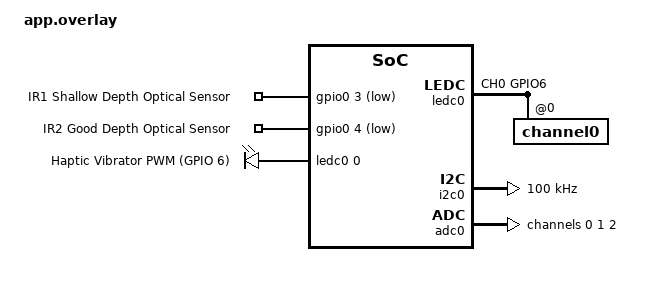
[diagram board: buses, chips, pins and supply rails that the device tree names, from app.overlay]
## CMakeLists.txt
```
# CMakeLists.txt - Zephyr RTOS Build Configuration
# CPR BLE RTOS Controller (No LED Build) for ESP32-C3

cmake_minimum_required(VERSION 3.20.0)

find_package(Zephyr REQUIRED HINTS $ENV{ZEPHYR_BASE})
project(cpr_ble_zephyr_controller_no_led)

target_include_directories(app PRIVATE src)
if(CONFIG_CPR_AED_BRIDGE)
    target_sources(app PRIVATE src/aed_client.c)
endif()

target_sources(app PRIVATE
    src/main.c
    src/cpr_protocol.c
    src/ble_service.c
    src/ir_sensor.c
    src/haptic.c
    src/aed_sensor.c
    src/air_sensor.c
    src/battery.c
)
```

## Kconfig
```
mainmenu "CPR Manikin"

config CPR_AED_BRIDGE
	bool "Enable assigned trainer AED client"
	depends on BT_CENTRAL && BT_GATT_CLIENT && BT_SETTINGS && BT_SMP
	depends on BT_MAX_CONN >= 2
	help
	  Add an independent outgoing BLE link to a selected trainer AED.

source "Kconfig.zephyr"
```

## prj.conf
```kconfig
# Zephyr RTOS Project Configuration
# Target: ESP32-C3 Super Mini / esp32c3_devkitm
# Project: CPR BLE Monitor (No LED)

# Serial Console & Logging
CONFIG_PRINTK=y
CONFIG_LOG=y
CONFIG_LOG_DEFAULT_LEVEL=3

# Kernel & Stacks
CONFIG_MAIN_STACK_SIZE=4096
CONFIG_SYSTEM_WORKQUEUE_STACK_SIZE=2048
CONFIG_HEAP_MEM_POOL_SIZE=8192

# Bluetooth Subsystem (BLE 5.0 Peripheral)
CONFIG_BT=y
CONFIG_BT_PERIPHERAL=y
CONFIG_BT_DEVICE_NAME="CPR_101"
CONFIG_BT_DEVICE_APPEARANCE=0
CONFIG_BT_MAX_CONN=2
CONFIG_BT_MAX_PAIRED=2
CONFIG_BT_SMP=y
CONFIG_BT_BONDABLE=y
CONFIG_BT_GATT_DYNAMIC_DB=y

# Bluetooth Battery Service (0x180F) for Mobile Percentage Display
CONFIG_BT_BAS=y

# MTU & Buffers for High Throughput & Zero-Delay
CONFIG_BT_L2CAP_TX_MTU=247
CONFIG_BT_BUF_ACL_TX_SIZE=251
CONFIG_BT_BUF_ACL_RX_SIZE=251

# Peripheral Hardware Drivers
CONFIG_GPIO=y
CONFIG_PWM=y
CONFIG_ADC=y
CONFIG_I2C=y

# Floating Point Formatting Support (for BMP280 Airway Pressure)
CONFIG_CBPRINTF_FP_SUPPORT=y
```

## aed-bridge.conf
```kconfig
CONFIG_BT_CENTRAL=y
CONFIG_BT_GATT_CLIENT=y
CONFIG_FLASH=y
CONFIG_FLASH_MAP=y
CONFIG_NVS=y
CONFIG_SETTINGS=y
CONFIG_SETTINGS_NVS=y
CONFIG_BT_SETTINGS=y
CONFIG_CPR_AED_BRIDGE=y
```

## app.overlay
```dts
/*
 * app.overlay - Devicetree overlay for ESP32-C3 Super Mini / esp32c3_devkitm
 * Mapping CPR sensors and haptic motor pins.
 */

#include <zephyr/dt-bindings/gpio/gpio.h>
#include <zephyr/dt-bindings/pwm/pwm.h>
#include <zephyr/dt-bindings/i2c/i2c.h>
#include <zephyr/dt-bindings/adc/adc.h>
#include <zephyr/dt-bindings/pinctrl/esp32c3-pinctrl.h>

/ {
    cpr_sensors {
        compatible = "gpio-keys";
        ir1_pin: ir1 {
            gpios = <&gpio0 3 (GPIO_PULL_UP | GPIO_ACTIVE_LOW)>;
            label = "IR1 Shallow Depth Optical Sensor";
        };
        ir2_pin: ir2 {
            gpios = <&gpio0 4 (GPIO_PULL_UP | GPIO_ACTIVE_LOW)>;
            label = "IR2 Good Depth Optical Sensor";
        };
    };

    aliases {
        ir1 = &ir1_pin;
        ir2 = &ir2_pin;
        pwm-motor = &motor_pwm_0;
        i2c-bus = &i2c0;
    };

    pwm_motor_node {
        compatible = "pwm-leds";
        motor_pwm_0: motor_pwm_0 {
            pwms = <&ledc0 0 PWM_HZ(200) PWM_POLARITY_NORMAL>;
            label = "Haptic Vibrator PWM (GPIO 6)";
        };
    };
};

&user_button1 {
    status = "disabled";
};

&pinctrl {
    ledc0_cpr: ledc0_cpr {
        group1 {
            pinmux = <LEDC_CH0_GPIO6>;
            output-enable;
        };
    };

    i2c0_cpr: i2c0_cpr {
        group1 {
            pinmux = <I2C0_SDA_GPIO8>,
                     <I2C0_SCL_GPIO9>;
            bias-pull-up;
            drive-open-drain;
            output-high;
        };
    };
};

&ledc0 {
    pinctrl-0 = <&ledc0_cpr>;
    pinctrl-names = "default";
    status = "okay";
    #address-cells = <1>;
    #size-cells = <0>;
    channel0@0 {
        reg = <0x0>;
        timer = <0>;
    };
};

&i2c0 {
    status = "okay";
    pinctrl-0 = <&i2c0_cpr>;
    pinctrl-names = "default";
    clock-frequency = <I2C_BITRATE_STANDARD>;
};

&adc0 {
    status = "okay";
    #address-cells = <1>;
    #size-cells = <0>;

    /* Channel 0: GPIO 0 (Chest AED Pad 49E Hall Sensor: A2) */
    channel@0 {
        reg = <0>;
        zephyr,gain = "ADC_GAIN_1_4";
        zephyr,reference = "ADC_REF_INTERNAL";
        zephyr,acquisition-time = <ADC_ACQ_TIME_DEFAULT>;
        zephyr,resolution = <12>;
    };

    /* Channel 1: GPIO 1 (Hip AED Pad 49E Hall Sensor: A1) */
    channel@1 {
        reg = <1>;
        zephyr,gain = "ADC_GAIN_1_4";
        zephyr,reference = "ADC_REF_INTERNAL";
        zephyr,acquisition-time = <ADC_ACQ_TIME_DEFAULT>;
        zephyr,resolution = <12>;
    };

    /* Channel 2: GPIO 2 (Battery Voltage Divider) */
    channel@2 {
        reg = <2>;
        zephyr,gain = "ADC_GAIN_1_4";
        zephyr,reference = "ADC_REF_INTERNAL";
        zephyr,acquisition-time = <ADC_ACQ_TIME_DEFAULT>;
        zephyr,resolution = <12>;
    };
};
```

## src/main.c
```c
/**
 * @file    main.c
 * @brief   CPR Training Monitor — Main Application Entry Point (Zephyr RTOS, No LED)
 * @version 9.0.0
 */

#include <zephyr/kernel.h>
#include <zephyr/logging/log.h>
#include <zephyr/bluetooth/bluetooth.h>

#include "cpr_config.h"
#include "cpr_protocol.h"
#include "ble_service.h"
#include "ir_sensor.h"
#include "haptic.h"
#include "aed_sensor.h"
#include "air_sensor.h"
#include "battery.h"

LOG_MODULE_REGISTER(main, LOG_LEVEL_INF);

/* Thread Stack Sizes & Priorities */
#define STACK_SIZE_SENSOR   2048
#define STACK_SIZE_HEART    1024
#define STACK_SIZE_AED      1536
#define STACK_SIZE_AIR      2048

#define PRIORITY_SENSOR     2   /* High priority for deterministic 1 kHz optical sampling */
#define PRIORITY_HEART      5   /* Background rhythmic haptic driver */
#define PRIORITY_AED        6   /* 10 Hz telemetry */
#define PRIORITY_AIR        6   /* 50 Hz pressure telemetry */

static uint8_t  s_device_id[3]   = {0x82, 0x30, 0x9A}; /* Derived from BT MAC */
static atomic_t s_packet_counter;

#ifdef CONFIG_CPR_AED_BRIDGE
#include "aed_client.h"
void cpr_relay_aed(struct bt_conn *app, int8_t state)
{
    CprPacket pkt = cpr_protocol_build_packet(PTYPE_AED, state,
        (uint16_t)atomic_inc(&s_packet_counter), s_device_id);
    ble_app_send(app, &pkt, sizeof(pkt));
}
#endif
static int8_t   s_last_aed_state = -1;
static volatile bool s_announce_pending = false;

/* =============================================================================
 * SENSOR & BLE EVENT HANDLERS
 * ============================================================================= */
static void on_compression_event(depth_result_t result)
{
    if (ble_service_is_connected()) {
        CprPacket cp = cpr_protocol_build_packet(
            PTYPE_COMPRESSION,
            (int8_t)result,
            (uint16_t)atomic_inc(&s_packet_counter),
            s_device_id
        );
        ble_service_send_compression(&cp);
    }
}

static void on_recoil_event(depth_result_t result)
{
    if (ble_service_is_connected()) {
        CprPacket cp = cpr_protocol_build_packet(
            PTYPE_COMPRESSION,
            (int8_t)result,
            (uint16_t)atomic_inc(&s_packet_counter),
            s_device_id
        );
        ble_service_send_compression(&cp);
    }
}

static void on_ble_heart_mode_cmd(heart_mode_t mode)
{
    haptic_set_mode(mode);
}

static void on_ble_announce_cmd(void)
{
    s_announce_pending = true;
}

static void on_ble_aed_mode_cmd(aed_mode_t mode)
{
    aed_sensor_set_mode(mode);
    s_last_aed_state = -1;
    LOG_INF("[BLE CMD] AED Mode set to: %s",
            (mode == AED_MODE_DISABLED) ? "OFF (Disabled)" :
            (mode == AED_MODE_HIP) ? "ON (Hip)" : "ON (Chest)");
    if (ble_service_is_connected()) {
        int8_t st = (mode == AED_MODE_DISABLED) ? AED_STATE_OFF : AED_STATE_ON;
        CprPacket p = cpr_protocol_build_packet(
            PTYPE_AED,
            st,
            (uint16_t)atomic_inc(&s_packet_counter),
            s_device_id
        );
        ble_service_send_aed(&p);
    }
}

static void on_ble_air_mode_cmd(bool active)
{
    air_sensor_set_active(active);
}

static volatile bool s_shock_armed = false;

/* Called when Mobile App turns Shock ON (Arm) or OFF (Disarm) */
static void on_ble_shock_mode_cmd(bool armed)
{
    s_shock_armed = armed;
    if (armed) {
        LOG_INF("[BLE CMD] Shock ARMED (ON - Ready for delivery)");
        if (ble_service_is_connected()) {
            CprPacket p = cpr_protocol_build_packet(
                PTYPE_AED,
                AED_STATE_SHOCK_ARMED,
                (uint16_t)atomic_inc(&s_packet_counter),
                s_device_id
            );
            ble_service_send_aed(&p);
        }
    } else {
        LOG_INF("[BLE CMD] Shock DISARMED (OFF)");
        if (ble_service_is_connected()) {
            CprPacket p = cpr_protocol_build_packet(
                PTYPE_AED,
                AED_STATE_SHOCK_DISARMED,
                (uint16_t)atomic_inc(&s_packet_counter),
                s_device_id
            );
            ble_service_send_aed(&p);
        }
    }
}

/* Called when physical shock is delivered by the external AED hardware */
void cpr_on_hardware_shock_delivered(void)
{
    LOG_INF("============================================");
    LOG_INF("   *** PHYSICAL AED SHOCK DELIVERED! ***    ");
    LOG_INF("============================================");

    /* 1. Trigger physical muscle spasm twitch on motor (180ms) */
    haptic_shock_twitch();

    /* 2. Resume normal sinus rhythm after successful defibrillation */
    haptic_set_mode(HEART_NORMAL);
    s_shock_armed = false;

    /* 3. Notify connected mobile app that shock was delivered */
    if (ble_service_is_connected()) {
        CprPacket p = cpr_protocol_build_packet(
            PTYPE_AED,
            AED_STATE_SHOCK_DELIVERED,
            (uint16_t)atomic_inc(&s_packet_counter),
            s_device_id
        );
        ble_service_send_aed(&p);
        ble_service_send_string("SHOCK:DELIVERED\n");
    }
}

/* =============================================================================
 * ZEPHYR RTOS DEDICATED THREADS
 * ============================================================================= */

/* 1. Sensor Thread: Deterministic 1 kHz Sampling (Zero-Delay Optical Trigger) */
static void sensor_thread_entry(void *p1, void *p2, void *p3)
{
    ARG_UNUSED(p1);
    ARG_UNUSED(p2);
    ARG_UNUSED(p3);

    while (1) {
        ir_sensor_update_tick(TIMING_SENSOR_POLL_MS);
        k_msleep(TIMING_SENSOR_POLL_MS);
    }
}
K_THREAD_DEFINE(sensor_tid, STACK_SIZE_SENSOR, sensor_thread_entry, NULL, NULL, NULL,
                PRIORITY_SENSOR, 0, 0);

/* 2. Heartbeat Thread: Precise Lub-Dub Cardiac Motor Rhythms */
static void heart_thread_entry(void *p1, void *p2, void *p3)
{
    ARG_UNUSED(p1);
    ARG_UNUSED(p2);
    ARG_UNUSED(p3);

    while (1) {
        haptic_run_cycle();
    }
}
K_THREAD_DEFINE(heart_tid, STACK_SIZE_HEART, heart_thread_entry, NULL, NULL, NULL,
                PRIORITY_HEART, 0, 0);

/* 3. AED Thread: 10 Hz 49E Hall Effect Pad Detection (Chest A2 & Hip A1) */
static void aed_thread_entry(void *p1, void *p2, void *p3)
{
    ARG_UNUSED(p1);
    ARG_UNUSED(p2);
    ARG_UNUSED(p3);

    while (1) {
        if (aed_sensor_is_active()) {
            aed_snapshot_t aed = aed_sensor_read();
            int8_t state = aed.is_attached ? 1 : 0;
            if (state != s_last_aed_state) {
                s_last_aed_state = state;
                if (ble_service_is_connected()) {
                    CprPacket p = cpr_protocol_build_packet(
                        PTYPE_AED,
                        state,
                        (uint16_t)atomic_inc(&s_packet_counter),
                        s_device_id
                    );
                    ble_service_send_aed(&p);
                    LOG_INF("[AED Telemetry] Mode=%s, Attached=%s (ADC=%d, Baseline=%d, Diff=%d)",
                            (aed.mode == AED_MODE_CHEST) ? "CHEST (A2)" : "HIP (A1)",
                            aed.is_attached ? "YES" : "NO",
                            aed.raw_adc,
                            aed.baseline,
                            aed.diff);
                }
            }
            k_msleep(AED_SAMPLE_INTERVAL_MS);
        } else {
            k_msleep(100);
        }
    }
}
K_THREAD_DEFINE(aed_tid, STACK_SIZE_AED, aed_thread_entry, NULL, NULL, NULL,
                PRIORITY_AED, 0, 0);

/* 4. Air Thread: 50 Hz Digital Breath Detection on GPIO 1 */
static void air_thread_entry(void *p1, void *p2, void *p3)
{
    ARG_UNUSED(p1);
    ARG_UNUSED(p2);
    ARG_UNUSED(p3);

    while (1) {
        if (air_sensor_is_active()) {
            bool is_air = false;
            if (air_sensor_update(&is_air)) {
                if (ble_service_is_connected()) {
                    CprPacket p = cpr_protocol_build_packet(
                        PTYPE_AIR,
                        is_air ? 1 : 0,
                        (uint16_t)atomic_inc(&s_packet_counter),
                        s_device_id
                    );
                    ble_service_send_air(&p);
                    LOG_INF("[Breath Telemetry] Breath=%s", is_air ? "DETECTED (ON)" : "RELEASED (OFF)");
                }
            }
            k_msleep(AIR_SAMPLE_INTERVAL_MS);
        } else {
            k_msleep(100);
        }
    }
}
K_THREAD_DEFINE(air_tid, STACK_SIZE_AIR, air_thread_entry, NULL, NULL, NULL,
                PRIORITY_AIR, 0, 0);

/* =============================================================================
 * MAIN ENTRY POINT
 * ============================================================================= */
int main(void)
{
    LOG_INF("==================================================");
    LOG_INF(" CPR Monitor v%s [Zephyr RTOS No-LED]", FW_VERSION_STR);
    LOG_INF("==================================================");

    /* 1. Initialize Bare-Metal Drivers */
    ir_sensor_init();
    haptic_init();
    aed_sensor_init();
    air_sensor_init();
    battery_init();

    /* 2. Register Callback Handlers */
    ir_sensor_register_callbacks(on_compression_event, on_recoil_event);
    ble_service_register_callbacks(
        on_ble_heart_mode_cmd,
        on_ble_announce_cmd,
        on_ble_aed_mode_cmd,
        on_ble_air_mode_cmd,
        on_ble_shock_mode_cmd
    );

    /* 3. Initialize BLE GATT & Advertising */
    int ret = ble_service_init();
    if (ret) {
        LOG_ERR("BLE initialization failed (err %d)", ret);
    }

    LOG_INF("System boot sequence complete. Active threads: Sensor, Heart, AED, Air.");

    /* 4. Main Telemetry & Watchdog Loop (Every 5 seconds) */
    while (1) {
        uint8_t batt_pct = battery_get_percentage();
        ble_service_set_battery_level(batt_pct);

        if (s_announce_pending) {
            s_announce_pending = false;
            if (ble_service_is_connected()) {
                AnnouncePacket ap = cpr_protocol_build_announce(
                    (uint16_t)atomic_inc(&s_packet_counter),
                    s_device_id,
                    batt_pct
                );
                ble_service_send_announce(&ap);
            }
        }

        /* Ensure advertising is active whenever disconnected */
        if (!ble_service_is_connected()) {
            ble_service_ensure_advertising();
        }

        LOG_INF("[HEALTH] State: %s | Battery: %u%% | CPM: %u",
                ble_service_is_connected() ? "CONNECTED" : 
                (ble_service_is_advertising() ? "ADVERTISING" : "IDLE"),
                batt_pct,
                cpm_tracker_get_current_rate());

        k_msleep(5000);
    }

    return 0;
}
```

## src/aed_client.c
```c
#include "aed_client.h"
#include "aed_wire.h"
#include <zephyr/kernel.h>
#include <zephyr/bluetooth/bluetooth.h>
#include <zephyr/bluetooth/gatt.h>
#include <zephyr/bluetooth/hci.h>
#include <zephyr/settings/settings.h>
#include <zephyr/sys/printk.h>
#include <zephyr/logging/log.h>
#include <string.h>

LOG_MODULE_REGISTER(aed_client, LOG_LEVEL_INF);
BUILD_ASSERT(DT_NODE_EXISTS(DT_NODELABEL(storage_partition)), "Bridge requires settings storage");

/* The bridge thread owns all connection procedures and assignment state. BLE
 * callbacks enqueue small snapshots, never run flash operations or app TX. */
enum kind { COMMAND, UP, DOWN, SERVICE, CHARACTER, CCC, END, SUBSCRIBED, FRAME, LOST };
struct message {
    enum kind kind;
    struct bt_conn *conn, *app;
    uint16_t handle, end;
    uint8_t data[14], len;
};
K_MSGQ_DEFINE(inbox, sizeof(struct message), 24, sizeof(void *));
K_SEM_DEFINE(started, 0, 1);
static atomic_t enabled;
static atomic_t dropped;
static struct bt_conn *peer, *owner;
static bt_addr_le_t target, saved;
static bool assigned, persisted;
static struct bt_gatt_discover_params discovery;
static struct bt_gatt_subscribe_params subscription;
static struct aed_stream stream;
static enum { IDLE, CONNECTING, SECURITY, FIND_SERVICE, FIND_CHARS, FIND_CCC, SUB, LIVE, CLOSING } phase;
static uint16_t service_end, rx, tx, tx_end;
static int64_t deadline, retry_at, hello_deadline;
static unsigned backoff = 1;
static const char *status = "@UNASSIGNED";

#define CANDIDATES 8
static bt_addr_le_t candidates[CANDIDATES];
static uint32_t token_base;
static unsigned count;
static struct k_spinlock scan_lock;
static bool scanning;
static int64_t scan_end, expires;

static struct bt_uuid_128 service_uuid = BT_UUID_INIT_128(BT_UUID_NUS_SERVICE_VAL);
static struct bt_uuid_128 rx_uuid = BT_UUID_INIT_128(BT_UUID_NUS_RX_VAL);
static struct bt_uuid_128 tx_uuid = BT_UUID_INIT_128(BT_UUID_NUS_TX_VAL);

static bool enqueue(struct message m)
{
    if (m.conn) bt_conn_ref(m.conn);
    if (!k_msgq_put(&inbox, &m, K_NO_WAIT)) return true;
    if (m.conn) bt_conn_unref(m.conn);
    if (m.app) bt_conn_unref(m.app);
    atomic_inc(&dropped);
    return false;
}

static int restore(const char *key, size_t len, settings_read_cb read, void *arg)
{
    if (strcmp(key, "peer")) return -ENOENT;
    if (len != sizeof(saved) || read(arg, &saved, len) != (ssize_t)len) return -EINVAL;
    if (saved.type != BT_ADDR_LE_PUBLIC && !(saved.type == BT_ADDR_LE_RANDOM && BT_ADDR_IS_STATIC(&saved.a))) return -EINVAL;
    target = saved;
    persisted = assigned = true;
    return 0;
}
SETTINGS_STATIC_HANDLER_DEFINE(aed_assignment, "trainer", NULL, restore, NULL, NULL);

static void reply(const char *s)
{
    if (owner && ble_is_app(owner)) ble_app_send(owner, s, strlen(s));
}
static void report(const char *s) { status = s; reply(s); }

static bool mfg(struct bt_data *d, void *arg)
{
    if (d->type == BT_DATA_MANUFACTURER_DATA && d->data_len == 3 &&
        d->data[0] == 0xc4 && d->data[1] == 0xc9 && d->data[2] == 0) {
        *(bool *)arg = true;
        return false;
    }
    return true;
}
static void advertisement(const bt_addr_le_t *addr, int8_t rssi, uint8_t type, struct net_buf_simple *ad)
{
    ARG_UNUSED(rssi);
    if (type != BT_GAP_ADV_TYPE_ADV_IND) return;
    bool available = false;
    bt_data_parse(ad, mfg, &available);
    if (!available) return;
    k_spinlock_key_t k = k_spin_lock(&scan_lock);
    if (scanning && count < CANDIDATES) {
        unsigned i = 0;
        while (i < count && bt_addr_le_cmp(addr, &candidates[i])) i++;
        if (i == count) candidates[count++] = *addr;
    }
    k_spin_unlock(&scan_lock, k);
}
static void stop_scan(void)
{
    k_spinlock_key_t k = k_spin_lock(&scan_lock);
    bool stop = scanning;
    scanning = false;
    k_spin_unlock(&scan_lock, k);
    if (stop) bt_le_scan_stop();
}

static bool central(struct bt_conn *c)
{
    struct bt_conn_info i;
    return !bt_conn_get_info(c, &i) && i.role == BT_CONN_ROLE_CENTRAL;
}
static void connected(struct bt_conn *c, uint8_t err)
{
    if (central(c)) enqueue((struct message){ .kind = err ? DOWN : UP, .conn = c });
}
static void disconnected(struct bt_conn *c, uint8_t reason)
{
    ARG_UNUSED(reason);
    if (central(c)) enqueue((struct message){ .kind = DOWN, .conn = c });
}
BT_CONN_CB_DEFINE(aed_connections) = { .connected = connected, .disconnected = disconnected };

static uint8_t found(struct bt_conn *c, const struct bt_gatt_attr *attr, struct bt_gatt_discover_params *p)
{
    struct message m = { .conn = c, .kind = END };
    if (!attr) { enqueue(m); return BT_GATT_ITER_STOP; }
    m.handle = attr->handle;
    if (p->type == BT_GATT_DISCOVER_PRIMARY) {
        m.kind = SERVICE;
        m.end = ((struct bt_gatt_service_val *)attr->user_data)->end_handle;
    } else if (p->type == BT_GATT_DISCOVER_CHARACTERISTIC) {
        const struct bt_gatt_chrc *ch = attr->user_data;
        m.kind = CHARACTER;
        m.end = ch->value_handle;
        m.data[0] = !bt_uuid_cmp(ch->uuid, &rx_uuid.uuid) &&
            (ch->properties & (BT_GATT_CHRC_WRITE | BT_GATT_CHRC_WRITE_WITHOUT_RESP)) ? 1 :
            !bt_uuid_cmp(ch->uuid, &tx_uuid.uuid) && (ch->properties & BT_GATT_CHRC_NOTIFY) ? 2 : 0;
        return enqueue(m) ? BT_GATT_ITER_CONTINUE : BT_GATT_ITER_STOP;
    } else { m.kind = CCC; }
    enqueue(m);
    return BT_GATT_ITER_STOP;
}
static int discover(uint8_t type, const struct bt_uuid *uuid, uint16_t first, uint16_t last)
{
    discovery = (struct bt_gatt_discover_params){ .uuid = uuid, .func = found, .type = type,
        .start_handle = first, .end_handle = last };
    return bt_gatt_discover(peer, &discovery);
}
static uint8_t notified(struct bt_conn *c, struct bt_gatt_subscribe_params *p, const void *data, uint16_t len)
{
    ARG_UNUSED(p);
    if (!c) return BT_GATT_ITER_STOP;
    if (!data) { enqueue((struct message){ .kind = LOST, .conn = c }); return BT_GATT_ITER_STOP; }
    if (len == 5) {
        struct message m = { .kind = FRAME, .conn = c, .app = ble_app_ref(), .len = len };
        memcpy(m.data, data, len);
        enqueue(m);
    }
    return BT_GATT_ITER_CONTINUE;
}
static void subscribed(struct bt_conn *c, uint8_t err, struct bt_gatt_subscribe_params *p)
{
    ARG_UNUSED(p);
    enqueue((struct message){ .kind = err ? LOST : SUBSCRIBED, .conn = c });
}
static void close_peer(const char *why)
{
    phase = CLOSING;
    report(why);
    if (peer) bt_conn_disconnect(peer, BT_HCI_ERR_REMOTE_USER_TERM_CONN);
}
static void check_bond(const struct bt_bond_info *b, void *arg)
{
    if (!bt_addr_le_cmp(&b->addr, bt_conn_get_dst(peer))) *(bool *)arg = true;
}
static void save_peer(void)
{
    bool bonded = false;
    bt_foreach_bond(BT_ID_DEFAULT, check_bond, &bonded);
    const bt_addr_le_t *id = bt_conn_get_dst(peer);
    if (!bonded || (id->type != BT_ADDR_LE_PUBLIC && !(id->type == BT_ADDR_LE_RANDOM && BT_ADDR_IS_STATIC(&id->a)))) {
        reply("@SESSION_ONLY"); return;
    }
    if (!persisted && settings_save_one("trainer/peer", id, sizeof(*id))) { reply("@STORE_ERROR"); return; }
    persisted = true;
    target = saved = *id;
}

static void handle_peer(const struct message *m)
{
    if (!peer || m->conn != peer) return;
    if (m->kind == DOWN) {
        bt_conn_unref(peer); peer = NULL; phase = IDLE;
        stream = (struct aed_stream){0};
        retry_at = k_uptime_get() + 1000 * backoff;
        backoff = MIN(backoff * 2, 32U);
        report(assigned ? "@DISCONNECTED" : "@UNASSIGNED");
        return;
    }
    if (phase == CLOSING) return;
    int err = 0;
    switch (m->kind) {
    case UP:
        if (phase != CONNECTING) return;
        phase = SECURITY; report("@PAIRING");
        err = bt_conn_set_security(peer, BT_SECURITY_L2);
        break;
    case SERVICE:
        if (phase != FIND_SERVICE) return;
        phase = FIND_CHARS; service_end = m->end; rx = tx = 0; tx_end = service_end;
        err = discover(BT_GATT_DISCOVER_CHARACTERISTIC, NULL, m->handle + 1, service_end);
        break;
    case CHARACTER:
        if (phase != FIND_CHARS) return;
        if (tx && m->handle > tx && tx_end == service_end) tx_end = m->handle - 1;
        if (m->data[0] == 1) rx = m->end;
        if (m->data[0] == 2 && !tx) tx = m->end;
        break;
    case END:
        if (phase != FIND_CHARS || !tx || !rx || tx >= tx_end) { close_peer("@BAD_SERVICE"); return; }
        phase = FIND_CCC;
        err = discover(BT_GATT_DISCOVER_DESCRIPTOR, BT_UUID_GATT_CCC, tx + 1, tx_end);
        break;
    case CCC:
        if (phase != FIND_CCC) return;
        phase = SUB;
        subscription = (struct bt_gatt_subscribe_params){ .notify = notified, .subscribe = subscribed,
            .ccc_handle = m->handle, .value_handle = tx, .value = BT_GATT_CCC_NOTIFY };
        atomic_set_bit(subscription.flags, BT_GATT_SUBSCRIBE_FLAG_VOLATILE);
        err = bt_gatt_subscribe(peer, &subscription);
        break;
    case SUBSCRIBED:
        if (phase != SUB) return;
        phase = LIVE; backoff = 1; save_peer(); report("@SUBSCRIBED");
        hello_deadline = k_uptime_get() + 3000;
        break;
    case FRAME:
        if (phase != LIVE && phase != SUB) return;
        switch (aed_decode(&stream, m->data, m->len)) {
        case AED_HELLO: report("@TELEMETRY_V1"); break;
        case AED_POWER_OFF: case AED_POWER_ON: case AED_SIM_DELIVERED:
            if (m->app && ble_is_app(m->app)) {
                int8_t state = m->data[2] == AED_POWER_OFF ? AED_STATE_OFF :
                    m->data[2] == AED_POWER_ON ? AED_STATE_ON : AED_STATE_SHOCK_DELIVERED;
                cpr_relay_aed(m->app, state);
            }
            break;
        }
        break;
    case LOST: close_peer("@TX_LOST"); break;
    default: break;
    }
    if (err) close_peer("@LINK_ERROR");
}

static bool token_index(const uint8_t *p, unsigned *index)
{
    uint32_t token = 0;
    for (int i = 0; i < 8; i++) {
        unsigned c = p[i];
        if (c >= '0' && c <= '9') c -= '0';
        else if (c >= 'A' && c <= 'F') c = c - 'A' + 10;
        else return false;
        token = (token << 4) | c;
    }
    *index = token - token_base;
    return !scanning && expires > k_uptime_get() && *index < count;
}
static void forget_owner(void)
{
    stop_scan(); expires = 0;
    if (owner) bt_conn_unref(owner);
    owner = NULL;
}
static void command(const struct message *m)
{
    if (!ble_is_app(m->conn)) return;
    if (owner != m->conn) { forget_owner(); owner = bt_conn_ref(m->conn); }
    const char *cmd = (const char *)m->data;
    if (!strcmp(cmd, "@GET")) {
        reply(status);
        if (assigned) {
            char line[21];
            snprintk(line, sizeof(line), "@PEER:%02X%02X%02X:%c", target.a.val[2], target.a.val[1], target.a.val[0], persisted ? 'B' : 'S');
            reply(line);
        }
        return;
    }
    if (!strcmp(cmd, "@LIST")) {
        if (peer && phase != LIVE) { reply("@BUSY"); return; }
        stop_scan(); expires = 0; token_base += CANDIDATES;
        k_spinlock_key_t k = k_spin_lock(&scan_lock);
        count = 0; scanning = true;
        k_spin_unlock(&scan_lock, k);
        if (bt_le_scan_start(BT_LE_SCAN_PASSIVE, advertisement)) { stop_scan(); reply("@SCAN_ERROR"); return; }
        scan_end = k_uptime_get() + 4000; reply("@SCANNING"); return;
    }
    bool clear = !strcmp(cmd, "@CLEAR");
    unsigned idx = 0;
    if (!clear && (!token_index(m->data + 5, &idx) || strncmp(cmd, "@SET:", 5))) { reply("@STALE"); return; }
    if (!clear && assigned && !bt_addr_le_cmp(&target, &candidates[idx])) { reply(status); return; }
    if (persisted) {
        if (settings_delete("trainer/peer")) { reply("@STORE_ERROR"); return; }
        if (bt_addr_le_cmp(&saved, bt_conn_get_dst(owner)) && bt_unpair(BT_ID_DEFAULT, &saved)) reply("@UNPAIR_ERROR");
    }
    stop_scan(); expires = 0;
    persisted = false; assigned = !clear; backoff = 1; retry_at = 0;
    if (!clear) target = candidates[idx];
    if (peer) close_peer("@RELEASING");
    else report(clear ? "@UNASSIGNED" : "@ASSIGNED");
}

ssize_t aed_client_command(struct bt_conn *app, const void *buf, uint16_t len, uint16_t offset)
{
    if (!atomic_get(&enabled)) return BT_GATT_ERR(BT_ATT_ERR_UNLIKELY);
    if (bt_conn_get_security(app) < BT_SECURITY_L2) return BT_GATT_ERR(BT_ATT_ERR_AUTHENTICATION);
    if (offset) return BT_GATT_ERR(BT_ATT_ERR_INVALID_OFFSET);
    const char *p = buf;
    if (!((len == 4 && !memcmp(p,"@GET",4)) || (len == 5 && !memcmp(p,"@LIST",5)) ||
          (len == 6 && !memcmp(p,"@CLEAR",6)) || (len == 13 && !memcmp(p,"@SET:",5))))
        return BT_GATT_ERR(BT_ATT_ERR_VALUE_NOT_ALLOWED);
    struct message m = { .kind = COMMAND, .conn = app };
    memcpy(m.data, p, len);
    return enqueue(m) ? len : BT_GATT_ERR(BT_ATT_ERR_INSUFFICIENT_RESOURCES);
}

static void tick(void)
{
    int64_t now = k_uptime_get();
    if (owner && !ble_is_app(owner)) forget_owner();
    if (atomic_set(&dropped, 0)) reply("@BRIDGE_OVERFLOW");
    if (scanning && now >= scan_end) {
        stop_scan(); expires = now + 30000;
        for (unsigned i = 0; i < count; i++) {
            char line[21]; const uint8_t *a = candidates[i].a.val;
            snprintk(line, sizeof(line), "@%08X:%02X%02X%02X", (unsigned)(token_base + i), a[2], a[1], a[0]);
            reply(line);
        }
        reply("@LIST_END");
    }
    if (!peer && assigned && !scanning && now >= retry_at) {
        if (bt_conn_le_create(&target, BT_CONN_LE_CREATE_CONN, BT_LE_CONN_PARAM_DEFAULT, &peer)) {
            peer = NULL; retry_at = now + 1000 * backoff; backoff = MIN(32U, backoff * 2);
            report("@CONNECT_FAILED"); return;
        }
        phase = CONNECTING; deadline = now + 30000; report("@CONNECTING");
    }
    if (!peer) return;
    struct bt_conn_info info;
    if (!bt_conn_get_info(peer, &info) && info.state == BT_CONN_STATE_DISCONNECTED) {
        handle_peer(&(struct message){.conn = peer, .kind = DOWN}); return;
    }
    if (phase == SECURITY && bt_conn_get_security(peer) >= BT_SECURITY_L2) {
        phase = FIND_SERVICE; report("@SECURED");
        if (discover(BT_GATT_DISCOVER_PRIMARY, &service_uuid.uuid, 1, UINT16_MAX)) close_peer("@DISCOVERY_ERROR");
    }
    if (phase == LIVE && !stream.ready && hello_deadline && now >= hello_deadline) {
        hello_deadline = 0; report("@NO_TELEMETRY");
    }
    if (phase != LIVE && phase != CLOSING && now >= deadline) close_peer("@TIMEOUT");
}
static void worker(void *a, void *b, void *c)
{
    ARG_UNUSED(a); ARG_UNUSED(b); ARG_UNUSED(c);
    k_sem_take(&started, K_FOREVER);
    for (;;) {
        struct message m;
        if (!k_msgq_get(&inbox, &m, K_MSEC(100))) {
            if (m.kind == COMMAND) command(&m); else handle_peer(&m);
            if (m.conn) bt_conn_unref(m.conn);
            if (m.app) bt_conn_unref(m.app);
        }
        tick();
    }
}
K_THREAD_DEFINE(aed_client_tid, 3072, worker, NULL, NULL, NULL, 7, 0, 0);
int aed_client_init(void)
{
    atomic_set(&enabled, 1);
    k_sem_give(&started);
    return 0;
}
```

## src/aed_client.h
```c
#pragma once

#include <zephyr/bluetooth/conn.h>
#include "cpr_config.h"

int aed_client_init(void);
ssize_t aed_client_command(struct bt_conn *app, const void *buf, uint16_t len, uint16_t offset);
struct bt_conn *ble_app_ref(void);
bool ble_is_app(struct bt_conn *conn);
int ble_app_send(struct bt_conn *app, const void *data, uint16_t len);
void cpr_relay_aed(struct bt_conn *app, int8_t state);
```

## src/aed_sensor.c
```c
/**
 * @file    aed_sensor.c
 * @brief   49E Linear Hall Effect Sensor Driver Implementation (Zephyr RTOS)
 *          Handles Chest (A2) on ADC1_CH0 (GPIO 0) and Hip (A1) on ADC1_CH1 (GPIO 1).
 *          Enhanced with 16-sample oversampling and hysteresis for thin/small magnets.
 * @version 9.3.0
 */

#include "aed_sensor.h"
#include <zephyr/kernel.h>
#include <zephyr/drivers/adc.h>
#include <zephyr/logging/log.h>
#include <stdlib.h>

LOG_MODULE_REGISTER(aed_sensor, LOG_LEVEL_INF);

static const struct device *adc_dev = NULL;
static aed_mode_t s_aed_mode        = AED_MODE_DISABLED;
static int16_t    s_baseline_chest  = 0;
static int16_t    s_baseline_hip    = 0;

static bool    s_chest_attached     = false;
static bool    s_hip_attached       = false;
static uint8_t s_chest_confirm_count = 0;
static uint8_t s_hip_confirm_count   = 0;

static int adc_read_channel(uint8_t channel, int16_t *out_val)
{
    if (!adc_dev || !device_is_ready(adc_dev)) {
        *out_val = 2048; /* Dummy midpoint if ADC not ready */
        return -ENODEV;
    }

    struct adc_channel_cfg ch_cfg = {
        .gain = ADC_GAIN_1_4,
        .reference = ADC_REF_INTERNAL,
        .acquisition_time = ADC_ACQ_TIME_DEFAULT,
        .channel_id = channel,
    };

    adc_channel_setup(adc_dev, &ch_cfg);

    int16_t sample = 0;
    struct adc_sequence sequence = {
        .channels = BIT(channel),
        .buffer = &sample,
        .buffer_size = sizeof(sample),
        .resolution = AED_ADC_RESOLUTION_BITS,
    };

    int ret = adc_read(adc_dev, &sequence);
    if (ret == 0) {
        *out_val = sample;
    }
    return ret;
}

static int16_t read_hall_average(uint8_t channel, uint8_t samples)
{
    int32_t sum = 0;
    int16_t val = 0;
    for (uint8_t i = 0; i < samples; ++i) {
        adc_read_channel(channel, &val);
        sum += val;
        k_busy_wait(200);
    }
    return (int16_t)(sum / samples);
}

int aed_sensor_init(void)
{
    adc_dev = DEVICE_DT_GET(DT_NODELABEL(adc0));
    if (!device_is_ready(adc_dev)) {
        LOG_WRN("ADC0 device not ready");
    } else {
        LOG_INF("ADC0 initialized for Dual 49E Hall sensors (Chest=GPIO0/CH0, Hip=GPIO1/CH1)");
    }

    s_aed_mode = AED_MODE_DISABLED;
    s_chest_attached = false;
    s_hip_attached   = false;
    s_chest_confirm_count = 0;
    s_hip_confirm_count   = 0;
    return 0;
}

void aed_sensor_calibrate(void)
{
    if (s_aed_mode == AED_MODE_CHEST) {
        s_baseline_chest = read_hall_average(AED_ADC_CH_CHEST, AED_CALIBRATION_SAMPLES);
        LOG_INF("Chest AED Calibrated (GPIO 0): Baseline=%d (Sens Threshold=%d, Hyst=%d)",
                s_baseline_chest, AED_DIFF_THRESHOLD, AED_HYSTERESIS_THRESHOLD);
    } else if (s_aed_mode == AED_MODE_HIP) {
        s_baseline_hip = read_hall_average(AED_ADC_CH_HIP, AED_CALIBRATION_SAMPLES);
        LOG_INF("Hip AED Calibrated (GPIO 1): Baseline=%d (Sens Threshold=%d, Hyst=%d)",
                s_baseline_hip, AED_DIFF_THRESHOLD, AED_HYSTERESIS_THRESHOLD);
    }
}

void aed_sensor_set_mode(aed_mode_t mode)
{
    s_aed_mode = mode;
    s_chest_attached = false;
    s_hip_attached   = false;
    s_chest_confirm_count = 0;
    s_hip_confirm_count   = 0;

    if (mode == AED_MODE_CHEST) {
        aed_sensor_calibrate();
        LOG_INF(">>> CHEST AED Pad Monitoring ACTIVATED on GPIO 0 (Cmd 'A2', Threshold=%d)", AED_DIFF_THRESHOLD);
    } else if (mode == AED_MODE_HIP) {
        aed_sensor_calibrate();
        LOG_INF(">>> HIP AED Pad Monitoring ACTIVATED on GPIO 1 (Cmd 'A1', Threshold=%d)", AED_DIFF_THRESHOLD);
    } else {
        LOG_INF("<<< AED Pad Monitoring DEACTIVATED (Cmd 'A0')");
    }
}

aed_mode_t aed_sensor_get_mode(void)
{
    return s_aed_mode;
}

bool aed_sensor_is_active(void)
{
    return (s_aed_mode != AED_MODE_DISABLED);
}

aed_snapshot_t aed_sensor_read(void)
{
    aed_snapshot_t snap = {
        .mode = s_aed_mode,
        .is_attached = false,
        .raw_adc = 0,
        .baseline = 0,
        .diff = 0
    };

    if (s_aed_mode == AED_MODE_DISABLED) return snap;

    uint8_t channel = (s_aed_mode == AED_MODE_CHEST) ? AED_ADC_CH_CHEST : AED_ADC_CH_HIP;
    int16_t current = read_hall_average(channel, AED_OVERSAMPLE_COUNT);
    int16_t baseline = (s_aed_mode == AED_MODE_CHEST) ? s_baseline_chest : s_baseline_hip;

    snap.raw_adc     = current;
    snap.baseline    = baseline;
    snap.diff        = abs(current - baseline);

    bool *p_attached = (s_aed_mode == AED_MODE_CHEST) ? &s_chest_attached : &s_hip_attached;
    uint8_t *p_confirm = (s_aed_mode == AED_MODE_CHEST) ? &s_chest_confirm_count : &s_hip_confirm_count;

    if (!(*p_attached)) {
        if (snap.diff >= AED_DIFF_THRESHOLD) {
            (*p_confirm)++;
            if (*p_confirm >= 2) {
                *p_attached = true;
                *p_confirm = 0;
            }
        } else {
            *p_confirm = 0;
        }
    } else {
        if (snap.diff <= AED_HYSTERESIS_THRESHOLD) {
            (*p_confirm)++;
            if (*p_confirm >= 2) {
                *p_attached = false;
                *p_confirm = 0;
            }
        } else {
            *p_confirm = 0;
        }
    }

    snap.is_attached = *p_attached;
    return snap;
}
```

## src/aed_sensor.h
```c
/**
 * @file    aed_sensor.h
 * @brief   49E Linear Hall Effect Sensor Driver for AED Pad Placement (Zephyr RTOS)
 * @version 9.1.0
 */

#pragma once

#include <stdint.h>
#include <stdbool.h>
#include "cpr_config.h"

#ifdef __cplusplus
extern "C" {
#endif

typedef struct {
    aed_mode_t mode;        /* Current mode: AED_MODE_CHEST or AED_MODE_HIP */
    bool       is_attached; /* True if pad attached (diff > threshold) */
    int16_t    raw_adc;     /* Current raw ADC value */
    int16_t    baseline;    /* Calibrated baseline */
    int16_t    diff;        /* Absolute difference from baseline */
} aed_snapshot_t;

int aed_sensor_init(void);

void aed_sensor_set_mode(aed_mode_t mode);

aed_mode_t aed_sensor_get_mode(void);

bool aed_sensor_is_active(void);

void aed_sensor_calibrate(void);

aed_snapshot_t aed_sensor_read(void);

#ifdef __cplusplus
}
#endif
```

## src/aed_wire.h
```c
#pragma once

#include <stdbool.h>
#include <stdint.h>
#include <stddef.h>

/* Companion protocol v1: magic, version, event, little-endian sequence. */
enum aed_event { AED_HELLO = 0, AED_POWER_OFF, AED_POWER_ON, AED_SIM_DELIVERED };
struct aed_stream { bool ready; uint16_t last; };

static inline int aed_decode(struct aed_stream *s, const uint8_t *p, size_t n)
{
    if (!p || n != 5 || p[0] != 0xae || p[1] != 1 || p[2] > AED_SIM_DELIVERED) return -1;
    uint16_t seq = (uint16_t)p[3] | ((uint16_t)p[4] << 8);
    if (!s->ready && p[2] != AED_HELLO) return -1;
    if (s->ready) {
        uint16_t delta = (uint16_t)(seq - s->last);
        if (p[2] == AED_HELLO || delta == 0 || delta >= 0x8000) return -1;
    }
    s->last = seq;
    s->ready = true;
    return p[2];
}
```

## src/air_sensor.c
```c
/**
 * @file    air_sensor.c
 * @brief   BMP280 Airway Barometric Pressure Sensor Driver Implementation (Zephyr RTOS)
 *          Operates over I2C0 (SDA: GPIO 8, SCL: GPIO 9).
 * @version 9.3.0
 */

#include "air_sensor.h"
#include <zephyr/kernel.h>
#include <zephyr/drivers/i2c.h>
#include <zephyr/logging/log.h>
#include <math.h>

LOG_MODULE_REGISTER(air_sensor, LOG_LEVEL_INF);

static const struct device *i2c_dev = NULL;
static uint16_t s_bmp_addr          = 0x76;
static bool     s_bmp_initialized   = false;
static bool     s_air_active        = false;

/* Calibration Parameters */
static uint16_t dig_T1;
static int16_t  dig_T2, dig_T3;
static uint16_t dig_P1;
static int16_t  dig_P2, dig_P3, dig_P4, dig_P5, dig_P6, dig_P7, dig_P8, dig_P9;
static int32_t  t_fine;

/* Air Detection State */
static float   s_baseline_pressure = 0.0f;
static float   s_filtered_diff     = 0.0f;
static bool    s_first_reading     = true;
static bool    s_air_detected      = false;
static uint8_t s_on_count          = 0;
static uint8_t s_off_count         = 0;

/* BMP280 Registers */
#define BMP280_REG_CHIPID       0xD0
#define BMP280_REG_CTRL_MEAS    0xF4
#define BMP280_REG_CONFIG       0xF5
#define BMP280_REG_PRESS_MSB    0xF7
#define BMP280_REG_CALIB_START  0x88

static int bmp280_read_calib(void)
{
    uint8_t calib[24];
    int ret = i2c_burst_read(i2c_dev, s_bmp_addr, BMP280_REG_CALIB_START, calib, 24);
    if (ret) return ret;

    dig_T1 = (uint16_t)(calib[1] << 8 | calib[0]);
    dig_T2 = (int16_t)(calib[3] << 8 | calib[2]);
    dig_T3 = (int16_t)(calib[5] << 8 | calib[4]);

    dig_P1 = (uint16_t)(calib[7] << 8 | calib[6]);
    dig_P2 = (int16_t)(calib[9] << 8 | calib[8]);
    dig_P3 = (int16_t)(calib[11] << 8 | calib[10]);
    dig_P4 = (int16_t)(calib[13] << 8 | calib[12]);
    dig_P5 = (int16_t)(calib[15] << 8 | calib[14]);
    dig_P6 = (int16_t)(calib[17] << 8 | calib[16]);
    dig_P7 = (int16_t)(calib[19] << 8 | calib[18]);
    dig_P8 = (int16_t)(calib[21] << 8 | calib[20]);
    dig_P9 = (int16_t)(calib[23] << 8 | calib[22]);

    return 0;
}

static float bmp280_read_pressure_pa(void)
{
    if (!s_bmp_initialized) return 101325.0f;

    uint8_t data[6];
    int ret = i2c_burst_read(i2c_dev, s_bmp_addr, BMP280_REG_PRESS_MSB, data, 6);
    if (ret) return 101325.0f;

    int32_t adc_p = ((int32_t)data[0] << 12) | ((int32_t)data[1] << 4) | ((int32_t)data[2] >> 4);
    int32_t adc_t = ((int32_t)data[3] << 12) | ((int32_t)data[4] << 4) | ((int32_t)data[5] >> 4);

    /* Temperature compensation */
    int32_t var1 = ((((adc_t >> 3) - ((int32_t)dig_T1 << 1))) * ((int32_t)dig_T2)) >> 11;
    int32_t var2 = (((((adc_t >> 4) - ((int32_t)dig_T1)) * ((adc_t >> 4) - ((int32_t)dig_T1))) >> 12) * ((int32_t)dig_T3)) >> 14;
    t_fine = var1 + var2;

    /* Pressure compensation */
    int64_t p_var1 = ((int64_t)t_fine) - 128000;
    int64_t p_var2 = p_var1 * p_var1 * (int64_t)dig_P6;
    p_var2 = p_var2 + ((p_var1 * (int64_t)dig_P5) << 17);
    p_var2 = p_var2 + (((int64_t)dig_P4) << 35);
    p_var1 = ((p_var1 * p_var1 * (int64_t)dig_P3) >> 8) + ((p_var1 * (int64_t)dig_P2) << 12);
    p_var1 = (((((int64_t)1) << 47) + p_var1)) * ((int64_t)dig_P1) >> 33;

    if (p_var1 == 0) return 0.0f;

    int64_t p = 1048576 - adc_p;
    p = (((p << 31) - p_var2) * 3125) / p_var1;
    p_var1 = (((int64_t)dig_P9) * (p >> 13) * (p >> 13)) >> 25;
    p_var2 = (((int64_t)dig_P8) * p) >> 19;
    p = ((p + p_var1 + p_var2) >> 8) + (((int64_t)dig_P7) << 4);

    return (float)p / 256.0f;
}

int air_sensor_init(void)
{
    i2c_dev = DEVICE_DT_GET(DT_NODELABEL(i2c0));
    if (!device_is_ready(i2c_dev)) {
        LOG_WRN("I2C0 not ready");
        return -ENODEV;
    }

    uint8_t chip_id = 0;
    /* Probe 0x76 first, then 0x77 */
    s_bmp_addr = 0x76;
    if (i2c_reg_read_byte(i2c_dev, s_bmp_addr, BMP280_REG_CHIPID, &chip_id) != 0 || (chip_id != 0x58 && chip_id != 0x60)) {
        s_bmp_addr = 0x77;
        if (i2c_reg_read_byte(i2c_dev, s_bmp_addr, BMP280_REG_CHIPID, &chip_id) != 0 || (chip_id != 0x58 && chip_id != 0x60)) {
            LOG_WRN("BMP280 not found on I2C (0x76 / 0x77)");
            s_bmp_initialized = false;
            return -ENODEV;
        }
    }

    bmp280_read_calib();

    /* Put in sleep mode initially */
    i2c_reg_write_byte(i2c_dev, s_bmp_addr, BMP280_REG_CTRL_MEAS, 0x00);
    s_bmp_initialized = true;
    LOG_INF("BMP280 airway sensor initialized at 0x%02x on I2C0 (Sleep Mode)", s_bmp_addr);
    return 0;
}

bool air_sensor_calibrate(void)
{
    if (!s_bmp_initialized) return false;

    /* Configure normal mode, x2 temp oversample, x16 pressure oversample */
    i2c_reg_write_byte(i2c_dev, s_bmp_addr, BMP280_REG_CTRL_MEAS, 0x57);
    i2c_reg_write_byte(i2c_dev, s_bmp_addr, BMP280_REG_CONFIG, 0x10); /* Filter x16 */

    k_msleep(100);

    float sum = 0.0f;
    for (int i = 0; i < AIR_CALIBRATION_SAMPLES; ++i) {
        sum += bmp280_read_pressure_pa();
        k_msleep(20);
    }
    s_baseline_pressure = sum / (float)AIR_CALIBRATION_SAMPLES;
    s_first_reading     = true;
    s_air_detected      = false;
    s_on_count          = 0;
    s_off_count         = 0;

    LOG_INF("BMP280 Calibrated: Baseline Pressure = %.2f Pa", (double)s_baseline_pressure);
    return true;
}

void air_sensor_set_active(bool active)
{
    s_air_active = active;
    if (active) {
        air_sensor_calibrate();
        LOG_INF(">>> Mouth Airway Sensor ACTIVATED (Cmd 'M1')");
    } else {
        if (s_bmp_initialized) {
            i2c_reg_write_byte(i2c_dev, s_bmp_addr, BMP280_REG_CTRL_MEAS, 0x00); /* Sleep */
        }
        LOG_INF("<<< Mouth Airway Sensor DEACTIVATED (Cmd 'M0')");
    }
}

bool air_sensor_is_active(void)
{
    return s_air_active;
}

bool air_sensor_update(bool *out_air_detected)
{
    if (!s_air_active || !s_bmp_initialized) return false;

    float pressure = bmp280_read_pressure_pa();
    float diff = pressure - s_baseline_pressure;

    if (s_first_reading) {
        s_filtered_diff = diff;
        s_first_reading = false;
    } else {
        s_filtered_diff = AIR_FILTER_ALPHA * diff + (1.0f - AIR_FILTER_ALPHA) * s_filtered_diff;
    }

    float magnitude = fabsf(s_filtered_diff);
    bool state_changed = false;

    if (!s_air_detected) {
        if (magnitude >= AIR_ON_THRESHOLD_PA) {
            s_on_count++;
        } else {
            s_on_count = 0;
        }

        if (s_on_count >= AIR_ON_CONFIRM_COUNT) {
            s_air_detected = true;
            s_on_count     = 0;
            s_off_count    = 0;
            state_changed  = true;
            LOG_INF("[AIR EVENT] >>> BREATH DETECTED! (Delta: %.1f Pa)", (double)magnitude);
        }
    } else {
        if (magnitude <= AIR_OFF_THRESHOLD_PA) {
            s_off_count++;
        } else {
            s_off_count = 0;
        }

        if (s_off_count >= AIR_OFF_CONFIRM_COUNT) {
            s_air_detected = false;
            s_off_count    = 0;
            s_on_count     = 0;
            state_changed  = true;
            LOG_INF("[AIR EVENT] <<< BREATH ENDED");
        }
    }

    *out_air_detected = s_air_detected;
    return state_changed;
}
```

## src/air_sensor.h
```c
/**
 * @file    air_sensor.h
 * @brief   BMP280 Airway Barometric Pressure Sensor Driver (Zephyr RTOS)
 *          Reads pressure differential on I2C (GPIO 8 SDA, GPIO 9 SCL).
 * @version 9.3.0
 */

#pragma once

#include <stdint.h>
#include <stdbool.h>
#include "cpr_config.h"

#ifdef __cplusplus
extern "C" {
#endif

int air_sensor_init(void);
void air_sensor_set_active(bool active);
bool air_sensor_is_active(void);
bool air_sensor_calibrate(void);
bool air_sensor_update(bool *out_air_detected);

#ifdef __cplusplus
}
#endif
```

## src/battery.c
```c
/**
 * @file    battery.c
 * @brief   Battery ADC Voltage & Percentage Monitor Implementation (Zephyr RTOS)
 * @version 9.0.0
 */

#include "battery.h"
#include <zephyr/kernel.h>
#include <zephyr/drivers/adc.h>
#include <zephyr/logging/log.h>

LOG_MODULE_REGISTER(battery, LOG_LEVEL_INF);

static const struct device *adc_dev = NULL;
#define ADC_CH_BATTERY 2 /* GPIO 2 / ADC1 Channel 2 */

int battery_init(void)
{
    adc_dev = DEVICE_DT_GET(DT_NODELABEL(adc0));
    if (!device_is_ready(adc_dev)) {
        LOG_WRN("ADC0 device not ready for battery");
        return -ENODEV;
    }

    struct adc_channel_cfg ch_cfg = {
        .gain = ADC_GAIN_1_4,
        .reference = ADC_REF_INTERNAL,
        .acquisition_time = ADC_ACQ_TIME_DEFAULT,
        .channel_id = ADC_CH_BATTERY,
    };

    adc_channel_setup(adc_dev, &ch_cfg);
    LOG_INF("Battery ADC initialized on Channel %d (GPIO 2)", ADC_CH_BATTERY);
    return 0;
}

uint16_t battery_get_voltage_mv(void)
{
    if (!adc_dev || !device_is_ready(adc_dev)) {
        return 3950; /* Fallback nominal 3.95V */
    }

    int16_t raw_sample = 0;
    struct adc_sequence sequence = {
        .channels = BIT(ADC_CH_BATTERY),
        .buffer = &raw_sample,
        .buffer_size = sizeof(raw_sample),
        .resolution = 12,
    };

    int ret = adc_read(adc_dev, &sequence);
    if (ret != 0 || raw_sample <= 0) {
        return 3950;
    }

    /* Convert raw 12-bit ADC (3.3V full scale) to mV at pin */
    int32_t pin_mv = (raw_sample * 3300) / 4095;
    if (pin_mv < 500) {
        return 3950; /* USB 5V test mode fallback */
    }

    /* Apply 2:1 resistive divider ratio */
    return (uint16_t)(pin_mv * BATT_DIVIDER_RATIO);
}

uint8_t battery_get_percentage(void)
{
    uint16_t mv = battery_get_voltage_mv();

    if (mv >= BATT_MAX_VOLTAGE_MV) {
        return 100;
    } else if (mv <= BATT_MIN_VOLTAGE_MV) {
        return 0;
    } else {
        return (uint8_t)(((uint32_t)(mv - BATT_MIN_VOLTAGE_MV) * 100UL) /
                         (BATT_MAX_VOLTAGE_MV - BATT_MIN_VOLTAGE_MV));
    }
}
```

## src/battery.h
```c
/**
 * @file    battery.h
 * @brief   Battery ADC Voltage & Percentage Monitor (Zephyr RTOS)
 * @version 9.0.0
 */

#pragma once

#include <stdint.h>
#include "cpr_config.h"

#ifdef __cplusplus
extern "C" {
#endif

int battery_init(void);

uint16_t battery_get_voltage_mv(void);

uint8_t battery_get_percentage(void);

#ifdef __cplusplus
}
#endif
```

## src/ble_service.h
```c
/**
 * @file    ble_service.h
 * @brief   Zephyr BLE GATT Nordic UART Service (NUS) & Battery Service (BAS)
 * @version 9.0.0
 */

#pragma once

#include <stdint.h>
#include <stdbool.h>
#include "cpr_config.h"

#ifdef __cplusplus
extern "C" {
#endif

typedef void (*ble_heart_mode_callback_t)(heart_mode_t mode);
typedef void (*ble_announce_request_callback_t)(void);
typedef void (*ble_aed_mode_callback_t)(aed_mode_t mode);
typedef void (*ble_air_mode_callback_t)(bool active);
/* Shock Mode Callback: true = Shock ON (Armed), false = Shock OFF (Disarmed) */
typedef void (*ble_shock_mode_callback_t)(bool armed);

void ble_service_register_callbacks(ble_heart_mode_callback_t heart_cb,
                                    ble_announce_request_callback_t announce_cb,
                                    ble_aed_mode_callback_t aed_cb,
                                    ble_air_mode_callback_t air_cb,
                                    ble_shock_mode_callback_t shock_cb);

int ble_service_init(void);

bool ble_service_is_connected(void);
bool ble_service_is_advertising(void);
int ble_service_start_advertising(void);
void ble_service_ensure_advertising(void);

int ble_service_send_announce(const AnnouncePacket *pkt);

int ble_service_send_compression(const CprPacket *pkt);

int ble_service_send_aed(const CprPacket *pkt);

int ble_service_send_air(const CprPacket *pkt);

int ble_service_send_string(const char *str);

void ble_service_set_battery_level(uint8_t percentage);

#ifdef __cplusplus
}
#endif
```
